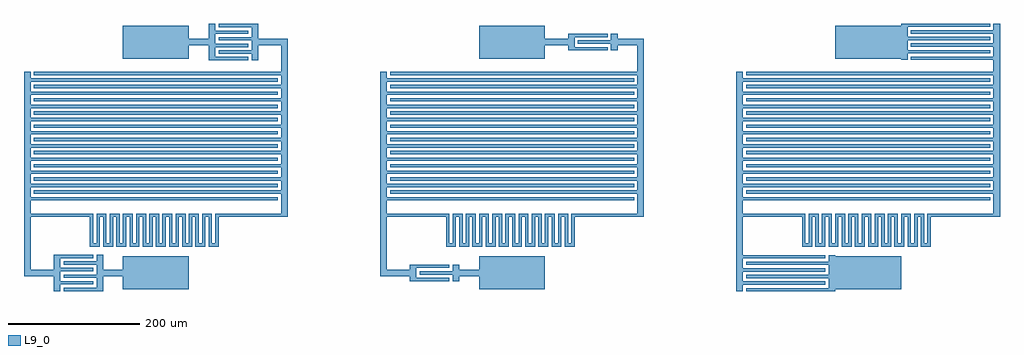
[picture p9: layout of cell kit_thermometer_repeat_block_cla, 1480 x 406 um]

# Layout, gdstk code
import gdstk
lib = gdstk.Library(unit=1e-6, precision=1e-09)
def R(c, l, rs):  # rectangles x0, y0, x1, y1
    for r in rs: c.add(gdstk.rectangle(r[:2], r[2:], *l))
def A(c, l, x, y, w, h, nx, ny, dx, dy):  # array of equal rectangles
    R(c, l, [(x+i*dx, y+j*dy, x+i*dx+w, y+j*dy+h) for i in range(nx) for j in range(ny)])
def P(c, l, *ps):  # polygons
    for p in ps: c.add(gdstk.Polygon(p, *l))
L9_0 = (9, 0)

inductor_meander_for_kid = lib.new_cell('inductor_meander_for_kid_therm_1')
R(inductor_meander_for_kid, L9_0, [(50,130,55,180), (55,130,60,135), (60,130,65,180), (65,175,70,180)])

finger_pair_for_kid_ther = lib.new_cell('finger_pair_for_kid_thermometer_')
R(finger_pair_for_kid_ther, L9_0, [(60,200,435,205), (65,210,440,215)])

kid_thermometer_base_v2_ = lib.new_cell('kid_thermometer_base_v2_1')
R(kid_thermometer_base_v2_, L9_0, [(200,50,300,100), (50,70,60,165), (60,160,150,165), (350,160,440,165), (440,160,450,185), (50,165,60,185), (50,185,60,380), (440,185,450,380), (440,380,450,430), (200,400,300,450)])
r = gdstk.Reference(inductor_meander_for_kid, (100,-15)); r.repetition = gdstk.Repetition(10, 1, v1=(20,0), v2=(0,50)); kid_thermometer_base_v2_.add(r)
r = gdstk.Reference(finger_pair_for_kid_ther, (0,-15)); r.repetition = gdstk.Repetition(1, 10, v1=(380,0), v2=(0,20)); kid_thermometer_base_v2_.add(r)

corner_marks_1 = lib.new_cell('corner_marks_1')

kit_thermometer_repeat_b = lib.new_cell('kit_thermometer_repeat_block_cla')
A(kit_thermometer_repeat_b, L9_0, 1145, 47, 125, 5, 1, 3, 0, 20)
A(kit_thermometer_repeat_b, L9_0, 1140, 57, 125, 5, 1, 3, 0, 20)
A(kit_thermometer_repeat_b, L9_0, 1395, 398, 125, 5, 1, 3, 0, 20)
A(kit_thermometer_repeat_b, L9_0, 1390, 408, 125, 5, 1, 3, 0, 20)
R(kit_thermometer_repeat_b, L9_0, [(1270,47,1280,102), (1130,47.5,1140,70), (60,70,95,80), (170,70,200,80), (600,70,635,80), (710,70,740,80), (1380,398,1390,453), (300,420,330,430), (405,420,440,430), (840,420,875,430), (950,420,980,430), (1520,430,1530,452.5)])
P(kit_thermometer_repeat_b, L9_0, [(875,412.5),(875,437.5),(935,437.5),(935,432.5),(885,432.5),(885,417.5),(935,417.5),(935,412.5)],
  [(940,412.5),(940,422.5),(890,422.5),(890,427.5),(940,427.5),(940,437.5),(950,437.5),(950,412.5)],
  [(635,62.5),(635,87.5),(695,87.5),(695,82.5),(645,82.5),(645,67.5),(695,67.5),(695,62.5)],
  [(700,62.5),(700,72.5),(650,72.5),(650,77.5),(700,77.5),(700,87.5),(710,87.5),(710,62.5)],
  [(405,397.5),(405,452.5),(345,452.5),(345,447.5),(395,447.5),(395,432.5),(345,432.5),(345,427.5),(395,427.5),(395,412.5),(345,412.5),(345,407.5),(395,407.5),(395,397.5)],
  [(390,397.5),(390,402.5),(340,402.5),(340,417.5),(390,417.5),(390,422.5),(340,422.5),(340,437.5),(390,437.5),(390,442.5),(340,442.5),(340,452.5),(330,452.5),(330,397.5)],
  [(95,47.5),(95,102.5),(155,102.5),(155,97.5),(105,97.5),(105,82.5),(155,82.5),(155,77.5),(105,77.5),(105,62.5),(155,62.5),(155,57.5),(105,57.5),(105,47.5)],
  [(110,47.5),(110,52.5),(160,52.5),(160,67.5),(110,67.5),(110,72.5),(160,72.5),(160,87.5),(110,87.5),(110,92.5),(160,92.5),(160,102.5),(170,102.5),(170,47.5)])
r = gdstk.Reference(kid_thermometer_base_v2_, (0,0)); r.repetition = gdstk.Repetition(3, 1, v1=(540,0), v2=(0,400)); kit_thermometer_repeat_b.add(r)
r = gdstk.Reference(corner_marks_1, (0,0)); r.repetition = gdstk.Repetition(3, 1, v1=(540,0), v2=(0,2000)); kit_thermometer_repeat_b.add(r)

lib.write_gds('kit_thermometer_repeat_block_cla.gds')
